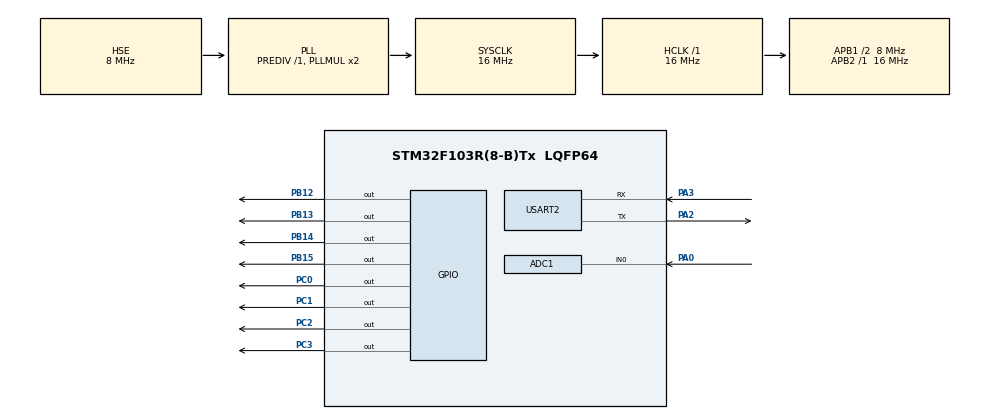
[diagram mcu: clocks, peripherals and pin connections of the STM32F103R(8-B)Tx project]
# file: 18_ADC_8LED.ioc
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ADC1.Channel-0\#ChannelRegularConversion=ADC_CHANNEL_0
ADC1.ContinuousConvMode=ENABLE
ADC1.NbrOfConversionFlag=1
ADC1.Rank-0\#ChannelRegularConversion=1
ADC1.SamplingTime-0\#ChannelRegularConversion=ADC_SAMPLETIME_13CYCLES_5
ADC1.master=1
Mcu.Family=STM32F1
Mcu.Name=STM32F103R(8-B)Tx
Mcu.Package=LQFP64
NVIC.ADC1_2_IRQn=true\:0\:0\:false\:false\:true\:true\:true\:true
NVIC.PriorityGroup=NVIC_PRIORITYGROUP_4
NVIC.RCC_IRQn=true\:0\:0\:false\:false\:true\:true\:false\:true
NVIC.USART2_IRQn=true\:0\:0\:false\:false\:true\:true\:true\:true
PA0-WKUP.Signal=ADCx_IN0
PA2.Mode=Asynchronous
PA2.Signal=USART2_TX
PA3.Mode=Asynchronous
PA3.Signal=USART2_RX
PB12.Signal=GPIO_Output
PB13.Signal=GPIO_Output
PB14.Signal=GPIO_Output
PB15.Signal=GPIO_Output
PC0.Signal=GPIO_Output
PC1.Signal=GPIO_Output
PC14-OSC32_IN.Mode=LSE-External-Oscillator
PC14-OSC32_IN.Signal=RCC_OSC32_IN
PC15-OSC32_OUT.Mode=LSE-External-Oscillator
PC15-OSC32_OUT.Signal=RCC_OSC32_OUT
PC2.Signal=GPIO_Output
PC3.Signal=GPIO_Output
PD0-OSC_IN.Mode=HSE-External-Clock-Source
PD0-OSC_IN.Signal=RCC_OSC_IN
PD1-OSC_OUT.Mode=HSE-External-Clock-Source
PD1-OSC_OUT.Signal=RCC_OSC_OUT
ProjectManager.HeapSize=0x200
ProjectManager.StackSize=0x400
ProjectManager.TargetToolchain=STM32CubeIDE
RCC.AHBFreq_Value=16000000
RCC.APB1CLKDivider=RCC_HCLK_DIV2
RCC.APB1Freq_Value=8000000
RCC.APB1TimFreq_Value=16000000
RCC.APB2Freq_Value=16000000
RCC.APB2TimFreq_Value=16000000
RCC.HCLKFreq_Value=16000000
RCC.PLLSourceVirtual=RCC_PLLSOURCE_HSE
RCC.SYSCLKFreq_VALUE=16000000
RCC.SYSCLKSource=RCC_SYSCLKSOURCE_PLLCLK
RCC.USBFreq_Value=16000000
SH.ADCx_IN0.0=ADC1_IN0,IN0
USART2.VirtualMode=VM_ASYNC
board=custom

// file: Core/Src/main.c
/* USER CODE BEGIN Header */
/**
  ******************************************************************************
  * @file           : main.c
  * @brief          : Main program body
  ******************************************************************************
  * @attention
  *
  * Copyright (c) 2023 STMicroelectronics.
  * All rights reserved.
  *
  * This software is licensed under terms that can be found in the LICENSE file
  * in the root directory of this software component.
  * If no LICENSE file comes with this software, it is provided AS-IS.
  *
  ******************************************************************************
  */
/* USER CODE END Header */
#include "main.h"

/* USER CODE BEGIN PD */
#define ADC_MAX		4096
#define CDS_FACTOR		2.2
#define BASE_R			10
#define CDS_R_10LX		1 					// 주�? ?��경에 ?��?�� �?�? ?��?��
#define CDS_R_3LX		CDS_R_10LX * CDS_FACTOR
#define CDS_R_1LX		CDS_R_3LX * CDS_FACTOR
#define CDS_R_0_3LX		CDS_R_1LX * CDS_FACTOR
#define CDS_R_0_1LX		CDS_R_0_3LX * CDS_FACTOR
#define CDS_R_0_03LX		CDS_R_0_1LX * CDS_FACTOR
#define CDS_R_0_01LX		CDS_R_0_03LX * CDS_FACTOR
#define CDS_R_0_003LX	CDS_R_0_01LX * CDS_FACTOR
#define ADC_10LX		(ADC_MAX * BASE_R) / (CDS_R_10LX + BASE_R)
#define ADC_3LX			(ADC_MAX * BASE_R) / (CDS_R_3LX + BASE_R)
#define ADC_1LX			(ADC_MAX * BASE_R) / (CDS_R_1LX + BASE_R)
#define ADC_0_3LX		(ADC_MAX * BASE_R) / (CDS_R_0_3LX + BASE_R)
#define ADC_0_1LX		(ADC_MAX * BASE_R) / (CDS_R_0_1LX + BASE_R)
#define ADC_0_03LX		(ADC_MAX * BASE_R) / (CDS_R_0_03LX + BASE_R)
#define ADC_0_01LX		(ADC_MAX * BASE_R) / (CDS_R_0_01LX + BASE_R)
#define ADC_0_003LX		(ADC_MAX * BASE_R) / (CDS_R_0_003LX + BASE_R)
/* USER CODE END PD */

ADC_HandleTypeDef hadc1;

UART_HandleTypeDef huart2;

/* USER CODE BEGIN PV */
int adc_value;
uint8_t count;
/* USER CODE END PV */

void SystemClock_Config(void);
static void MX_GPIO_Init(void);
static void MX_ADC1_Init(void);
static void MX_USART2_UART_Init(void);

/* USER CODE BEGIN 0 */
int __io_putchar(int ch) {
	HAL_UART_Transmit(&huart2, (uint8_t *)&ch, 1, 100);
	if(ch =='\n') {
		HAL_UART_Transmit(&huart2, (uint8_t *)'/r', 1, 100);
	}
	return ch;
}

typedef struct led {
	GPIO_TypeDef *port;
	uint16_t pin;
} LED;
LED led[8] = {
		{GPIOC, GPIO_PIN_3}, {GPIOC, GPIO_PIN_2},
		{GPIOC, GPIO_PIN_1}, {GPIOC, GPIO_PIN_0},
		{GPIOB, GPIO_PIN_15}, {GPIOB, GPIO_PIN_14},
		{GPIOB, GPIO_PIN_13}, {GPIOB, GPIO_PIN_12}
};

void led_on(uint8_t count){
	for(uint8_t i = 0; i < count; i++){
		HAL_GPIO_WritePin(led[i].port, led[i].pin, 1);
	}
}

void led_off(){
	for(uint8_t i = 0; i < 8; i++){
		HAL_GPIO_WritePin(led[i].port, led[i].pin, 0);
	}
}
/* USER CODE END 0 */

int main(void)
{

  /* MCU Configuration--------------------------------------------------------*/

  /* Reset of all peripherals, Initializes the Flash interface and the Systick. */
  HAL_Init();

  /* Configure the system clock */
  SystemClock_Config();

  /* Initialize all configured peripherals */
  MX_GPIO_Init();
  MX_ADC1_Init();
  MX_USART2_UART_Init();
  /* USER CODE BEGIN 2 */
  HAL_ADCEx_Calibration_Start(&hadc1);
  HAL_ADC_Start_IT(&hadc1);

  /* USER CODE END 2 */

  /* Infinite loop */
  while (1)
  {

  }
}

void SystemClock_Config(void)
{
  RCC_OscInitTypeDef RCC_OscInitStruct = {0};
  RCC_ClkInitTypeDef RCC_ClkInitStruct = {0};
  RCC_PeriphCLKInitTypeDef PeriphClkInit = {0};

  /** Initializes the RCC Oscillators according to the specified parameters
  * in the RCC_OscInitTypeDef structure.
  */
  RCC_OscInitStruct.OscillatorType = RCC_OSCILLATORTYPE_HSE;
  RCC_OscInitStruct.HSEState = RCC_HSE_BYPASS;
  RCC_OscInitStruct.HSEPredivValue = RCC_HSE_PREDIV_DIV1;
  RCC_OscInitStruct.HSIState = RCC_HSI_ON;
  RCC_OscInitStruct.PLL.PLLState = RCC_PLL_ON;
  RCC_OscInitStruct.PLL.PLLSource = RCC_PLLSOURCE_HSE;
  RCC_OscInitStruct.PLL.PLLMUL = RCC_PLL_MUL2;
  if (HAL_RCC_OscConfig(&RCC_OscInitStruct) != HAL_OK)
  {
    Error_Handler();
  }

  /** Initializes the CPU, AHB and APB buses clocks
  */
  RCC_ClkInitStruct.ClockType = RCC_CLOCKTYPE_HCLK|RCC_CLOCKTYPE_SYSCLK
                              |RCC_CLOCKTYPE_PCLK1|RCC_CLOCKTYPE_PCLK2;
  RCC_ClkInitStruct.SYSCLKSource = RCC_SYSCLKSOURCE_PLLCLK;
  RCC_ClkInitStruct.AHBCLKDivider = RCC_SYSCLK_DIV1;
  RCC_ClkInitStruct.APB1CLKDivider = RCC_HCLK_DIV2;
  RCC_ClkInitStruct.APB2CLKDivider = RCC_HCLK_DIV1;

  if (HAL_RCC_ClockConfig(&RCC_ClkInitStruct, FLASH_LATENCY_0) != HAL_OK)
  {
    Error_Handler();
  }
  PeriphClkInit.PeriphClockSelection = RCC_PERIPHCLK_ADC;
  PeriphClkInit.AdcClockSelection = RCC_ADCPCLK2_DIV2;
  if (HAL_RCCEx_PeriphCLKConfig(&PeriphClkInit) != HAL_OK)
  {
    Error_Handler();
  }
}

static void MX_ADC1_Init(void)
{

  ADC_ChannelConfTypeDef sConfig = {0};

  /** Common config
  */
  hadc1.Instance = ADC1;
  hadc1.Init.ScanConvMode = ADC_SCAN_DISABLE;
  hadc1.Init.ContinuousConvMode = ENABLE;
  hadc1.Init.DiscontinuousConvMode = DISABLE;
  hadc1.Init.ExternalTrigConv = ADC_SOFTWARE_START;
  hadc1.Init.DataAlign = ADC_DATAALIGN_RIGHT;
  hadc1.Init.NbrOfConversion = 1;
  if (HAL_ADC_Init(&hadc1) != HAL_OK)
  {
    Error_Handler();
  }

  /** Configure Regular Channel
  */
  sConfig.Channel = ADC_CHANNEL_0;
  sConfig.Rank = ADC_REGULAR_RANK_1;
  sConfig.SamplingTime = ADC_SAMPLETIME_13CYCLES_5;
  if (HAL_ADC_ConfigChannel(&hadc1, &sConfig) != HAL_OK)
  {
    Error_Handler();
  }

}

static void MX_USART2_UART_Init(void)
{

  huart2.Instance = USART2;
  huart2.Init.BaudRate = 115200;
  huart2.Init.WordLength = UART_WORDLENGTH_8B;
  huart2.Init.StopBits = UART_STOPBITS_1;
  huart2.Init.Parity = UART_PARITY_NONE;
  huart2.Init.Mode = UART_MODE_TX_RX;
  huart2.Init.HwFlowCtl = UART_HWCONTROL_NONE;
  huart2.Init.OverSampling = UART_OVERSAMPLING_16;
  if (HAL_UART_Init(&huart2) != HAL_OK)
  {
    Error_Handler();
  }

}

static void MX_GPIO_Init(void)
{
  GPIO_InitTypeDef GPIO_InitStruct = {0};

  /* GPIO Ports Clock Enable */
  __HAL_RCC_GPIOC_CLK_ENABLE();
  __HAL_RCC_GPIOD_CLK_ENABLE();
  __HAL_RCC_GPIOA_CLK_ENABLE();
  __HAL_RCC_GPIOB_CLK_ENABLE();

  /*Configure GPIO pin Output Level */
  HAL_GPIO_WritePin(GPIOC, GPIO_PIN_0|GPIO_PIN_1|GPIO_PIN_2|GPIO_PIN_3, GPIO_PIN_RESET);

  /*Configure GPIO pin Output Level */
  HAL_GPIO_WritePin(GPIOB, GPIO_PIN_12|GPIO_PIN_13|GPIO_PIN_14|GPIO_PIN_15, GPIO_PIN_RESET);

  /*Configure GPIO pins : PC0 PC1 PC2 PC3 */
  GPIO_InitStruct.Pin = GPIO_PIN_0|GPIO_PIN_1|GPIO_PIN_2|GPIO_PIN_3;
  GPIO_InitStruct.Mode = GPIO_MODE_OUTPUT_PP;
  GPIO_InitStruct.Pull = GPIO_NOPULL;
  GPIO_InitStruct.Speed = GPIO_SPEED_FREQ_LOW;
  HAL_GPIO_Init(GPIOC, &GPIO_InitStruct);

  /*Configure GPIO pins : PB12 PB13 PB14 PB15 */
  GPIO_InitStruct.Pin = GPIO_PIN_12|GPIO_PIN_13|GPIO_PIN_14|GPIO_PIN_15;
  GPIO_InitStruct.Mode = GPIO_MODE_OUTPUT_PP;
  GPIO_InitStruct.Pull = GPIO_NOPULL;
  GPIO_InitStruct.Speed = GPIO_SPEED_FREQ_LOW;
  HAL_GPIO_Init(GPIOB, &GPIO_InitStruct);

}

/* USER CODE BEGIN 4 */
void HAL_ADC_ConvCpltCallback(ADC_HandleTypeDef *hadc){
	if(hadc == &hadc1){
		adc_value = HAL_ADC_GetValue(&hadc1);
		if(adc_value > ADC_10LX){
		  count = 0;
		}
		else if(adc_value > ADC_3LX){
		  count = 1;
		}
		else if(adc_value > ADC_1LX){
		  count = 2;
		}
		else if(adc_value > ADC_0_3LX){
		  count = 3;
		}
		else if(adc_value > ADC_0_1LX){
		  count = 4;
		}
		else if(adc_value > ADC_0_03LX){
		  count = 5;
		}
		else if(adc_value > ADC_0_01LX){
		  count = 6;
		}
		else if(adc_value > ADC_0_003LX){
		  count = 7;
		}
		else {
		  count = 8;
		}

		led_on(count);
		led_off();
		// 인터럽트 안 딜레이는 조심
	}
}
/* USER CODE END 4 */

void Error_Handler(void)
{
  __disable_irq();
  while (1)
  {
  }
}
